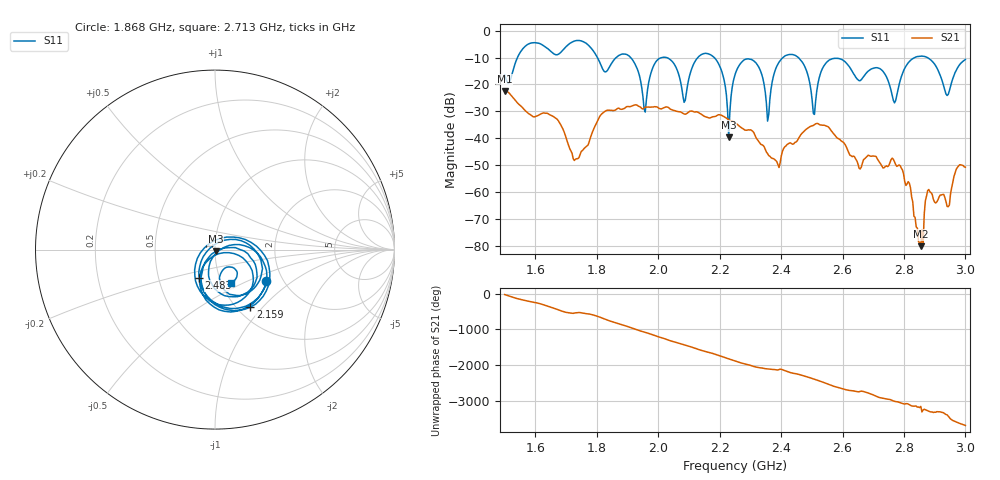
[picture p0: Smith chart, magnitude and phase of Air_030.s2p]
# HZ S RI R 50
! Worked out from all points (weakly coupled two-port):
!   404 points, 1.5 GHz to 3 GHz, reference 50 ohm
!   highest |S21| = -22.41 dB at 1.5 GHz (marker M1); lowest = -80.2 dB at 2.855 GHz (marker M2)
!   lowest |S11| = -39.6 dB at 2.23 GHz (marker M3), VSWR 1.02, Z = 50.5 - j0.94 ohm
!   |S11| at or under -10 dB: 2.182 GHz to 2.406 GHz (224 MHz wide, 9.76 % of centre); 2.456 GHz to 2.835 GHz (378.8 MHz wide, 14.3 % of centre); 2.876 GHz to end of sweep (the widest 3 of 7)
!   S12 and S22 are empty: the file has one direction only
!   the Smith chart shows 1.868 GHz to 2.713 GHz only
!   S11 on the Smith chart (normalised r, x): 1.868 GHz: 1.65, -0.64; 2.159 GHz: 1.15, -0.86; 2.483 GHz: 0.80, -0.26; 2.713 GHz: 1.11, -0.43
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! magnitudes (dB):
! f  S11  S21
! 1.5 GHz  -16.5  -22.4
! 1.753 GHz  -4.0  -44.7
! 1.868 GHz  -9.5  -28.9
! 1.958 GHz  -30.3  -28.5
! 2.002 GHz  -10.4  -28.9
! 2.084 GHz  -26.7  -31.0
! 2.159 GHz  -8.5  -32.2
! 2.23 GHz  -39.6  -33.2
! 2.252 GHz  -15.8  -34.5
! 2.315 GHz  -11.6  -39.0
! 2.356 GHz  -33.7  -45.8
! 2.39 GHz  -12.5  -49.8
! 2.483 GHz  -14.9  -36.6
! 2.501 GHz  -26.0  -35.4
! 2.561 GHz  -10.7  -36.9
! 2.713 GHz  -13.8  -47.8
! 2.751 GHz  -19.4  -50.2
! 2.818 GHz  -11.5  -56.8
! 2.855 GHz  -9.5  -80.2
! 2.877 GHz  -10.1  -59.5
! 2.94 GHz  -24.1  -65.4
! 3 GHz  -10.7  -50.8
